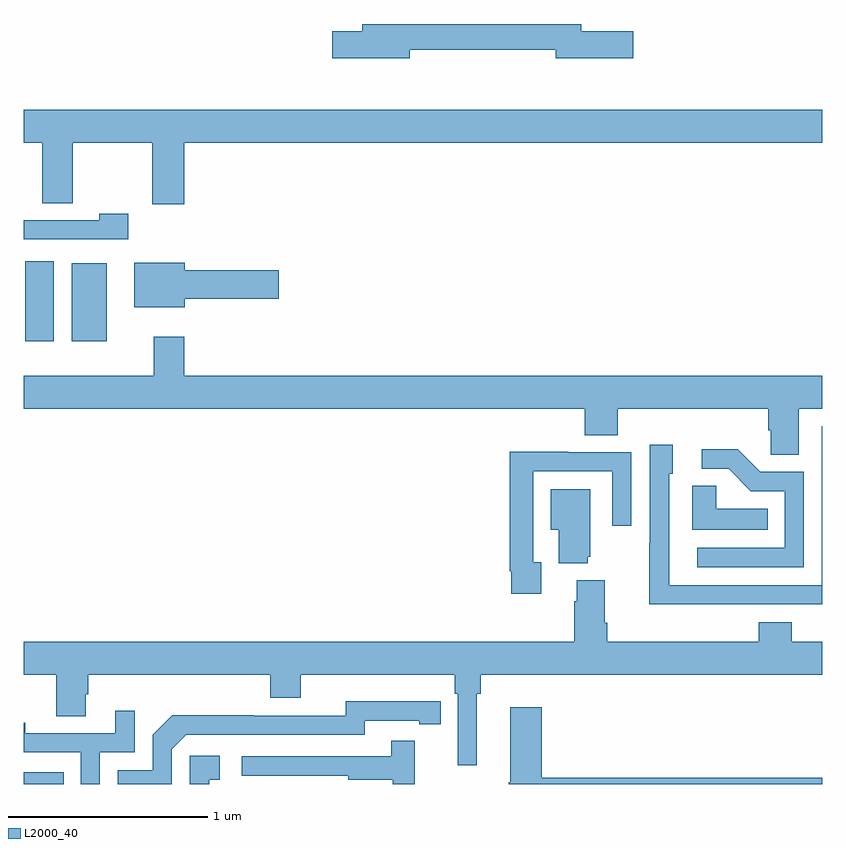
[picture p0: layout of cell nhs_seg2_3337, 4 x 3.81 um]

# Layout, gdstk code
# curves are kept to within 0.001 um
import gdstk
lib = gdstk.Library(unit=1e-6, precision=1e-09)
def R(c, l, rs):  # rectangles x0, y0, x1, y1
    for r in rs: c.add(gdstk.rectangle(r[:2], r[2:], *l))
def P(c, l, *ps):  # polygons
    for p in ps: c.add(gdstk.Polygon(p, *l))
L2000_40 = (2000, 40)

nhs_seg2_3337 = lib.new_cell('nhs_seg2_3337')
R(nhs_seg2_3337, L2000_40, [(287,601.8,287.201,601.86), (287.009,604.016,287.152,604.417), (287.24,604.016,287.416,604.408)])
P(nhs_seg2_3337, L2000_40, [(288.934,605.478),(289.664,605.478),(289.664,605.435),(290.053,605.435),(290.053,605.57),(289.792,605.57),(289.792,605.606),(288.695,605.606),(288.695,605.57),(288.546,605.57),(288.546,605.435),(288.934,605.435)],
  [(287.804,605.012),(291,605.012),(291,605.176),(287,605.176),(287,605.012),(287.092,605.012),(287.092,604.708),(287.246,604.708),(287.246,605.012),(287.644,605.012),(287.644,604.704),(287.804,604.704)],
  [(287.524,604.656),(287.379,604.656),(287.379,604.623),(287,604.623),(287,604.527),(287.524,604.527)],
  [(287.806,604.231),(288.277,604.231),(288.277,604.373),(287.806,604.373),(287.806,604.411),(287.555,604.411),(287.555,604.187),(287.806,604.187)],
  [(290.881,603.68),(291,603.68),(291,603.844),(287.804,603.844),(287.804,604.039),(287.651,604.039),(287.651,603.844),(287,603.844),(287,603.68),(289.811,603.68),(289.811,603.547),(289.976,603.547),(289.976,603.68),(290.729,603.68),(290.729,603.571),(290.742,603.571),(290.742,603.448),(290.881,603.448)],
  [(290.597,602.7),(291,602.7),(291,603.591),(290.997,603.591),(290.997,602.796),(290.232,602.796),(290.232,603.354),(290.251,603.354),(290.251,603.499),(290.136,603.499),(290.136,603.005),(290.134,603.005),(290.134,602.699),(290.597,602.699)],
  [(290.907,603.363),(290.688,603.363),(290.575,603.476),(290.397,603.476),(290.397,603.378),(290.531,603.378),(290.642,603.267),(290.811,603.267),(290.811,602.982),(290.373,602.982),(290.373,602.886),(290.907,602.886)],
  [(289.591,602.91),(289.551,602.91),(289.551,603.366),(289.947,603.366),(289.947,603.093),(290.043,603.093),(290.043,603.462),(289.727,603.462),(289.727,603.464),(289.435,603.464),(289.435,602.866),(289.443,602.866),(289.443,602.754),(289.591,602.754)],
  [(290.726,603.178),(290.469,603.178),(290.469,603.293),(290.348,603.293),(290.348,603.074),(290.726,603.074)],
  [(289.826,602.937),(289.837,602.937),(289.837,603.277),(289.64,603.277),(289.64,603.074),(289.679,603.074),(289.679,602.906),(289.826,602.906)],
  [(289.27,602.252),(289.289,602.252),(289.289,602.348),(291,602.348),(291,602.512),(290.846,602.512),(290.846,602.611),(290.681,602.611),(290.681,602.512),(289.922,602.512),(289.922,602.608),(289.909,602.608),(289.909,602.821),(289.769,602.821),(289.769,602.714),(289.757,602.714),(289.757,602.512),(287,602.512),(287,602.348),(287.164,602.348),(287.164,602.14),(287.311,602.14),(287.311,602.25),(287.324,602.25),(287.324,602.348),(288.236,602.348),(288.236,602.231),(288.388,602.231),(288.388,602.348),(289.16,602.348),(289.16,602.252),(289.173,602.252),(289.173,601.893),(289.27,601.893)],
  [(287.742,601.974),(287.814,602.046),(288.708,602.046),(288.708,602.118),(288.98,602.118),(288.98,602.098),(289.088,602.098),(289.088,602.214),(288.612,602.215),(288.612,602.142),(288.152,602.142),(288.152,602.144),(287.744,602.144),(287.646,602.046),(287.646,601.869),(287.472,601.869),(287.472,601.8),(287.742,601.8)],
  [(291,601.832),(289.595,601.832),(289.595,602.185),(289.436,602.185),(289.436,601.809),(289.429,601.809),(289.429,601.8),(291,601.8)],
  [(287.382,601.959),(287.556,601.959),(287.556,602.167),(287.459,602.167),(287.459,602.055),(287.008,602.055),(287.008,602.107),(287,602.107),(287,601.959),(287.286,601.959),(287.286,601.8),(287.382,601.8)],
  [(288.959,602.017),(288.841,602.017),(288.841,601.938),(288.093,601.938),(288.093,601.842),(288.625,601.842),(288.625,601.822),(288.849,601.822),(288.849,601.8),(288.959,601.8)],
  [(287.93,601.821),(287.983,601.821),(287.983,601.942),(287.832,601.942),(287.832,601.8),(287.93,601.8)])

lib.write_gds('nhs_seg2_3337.gds')
